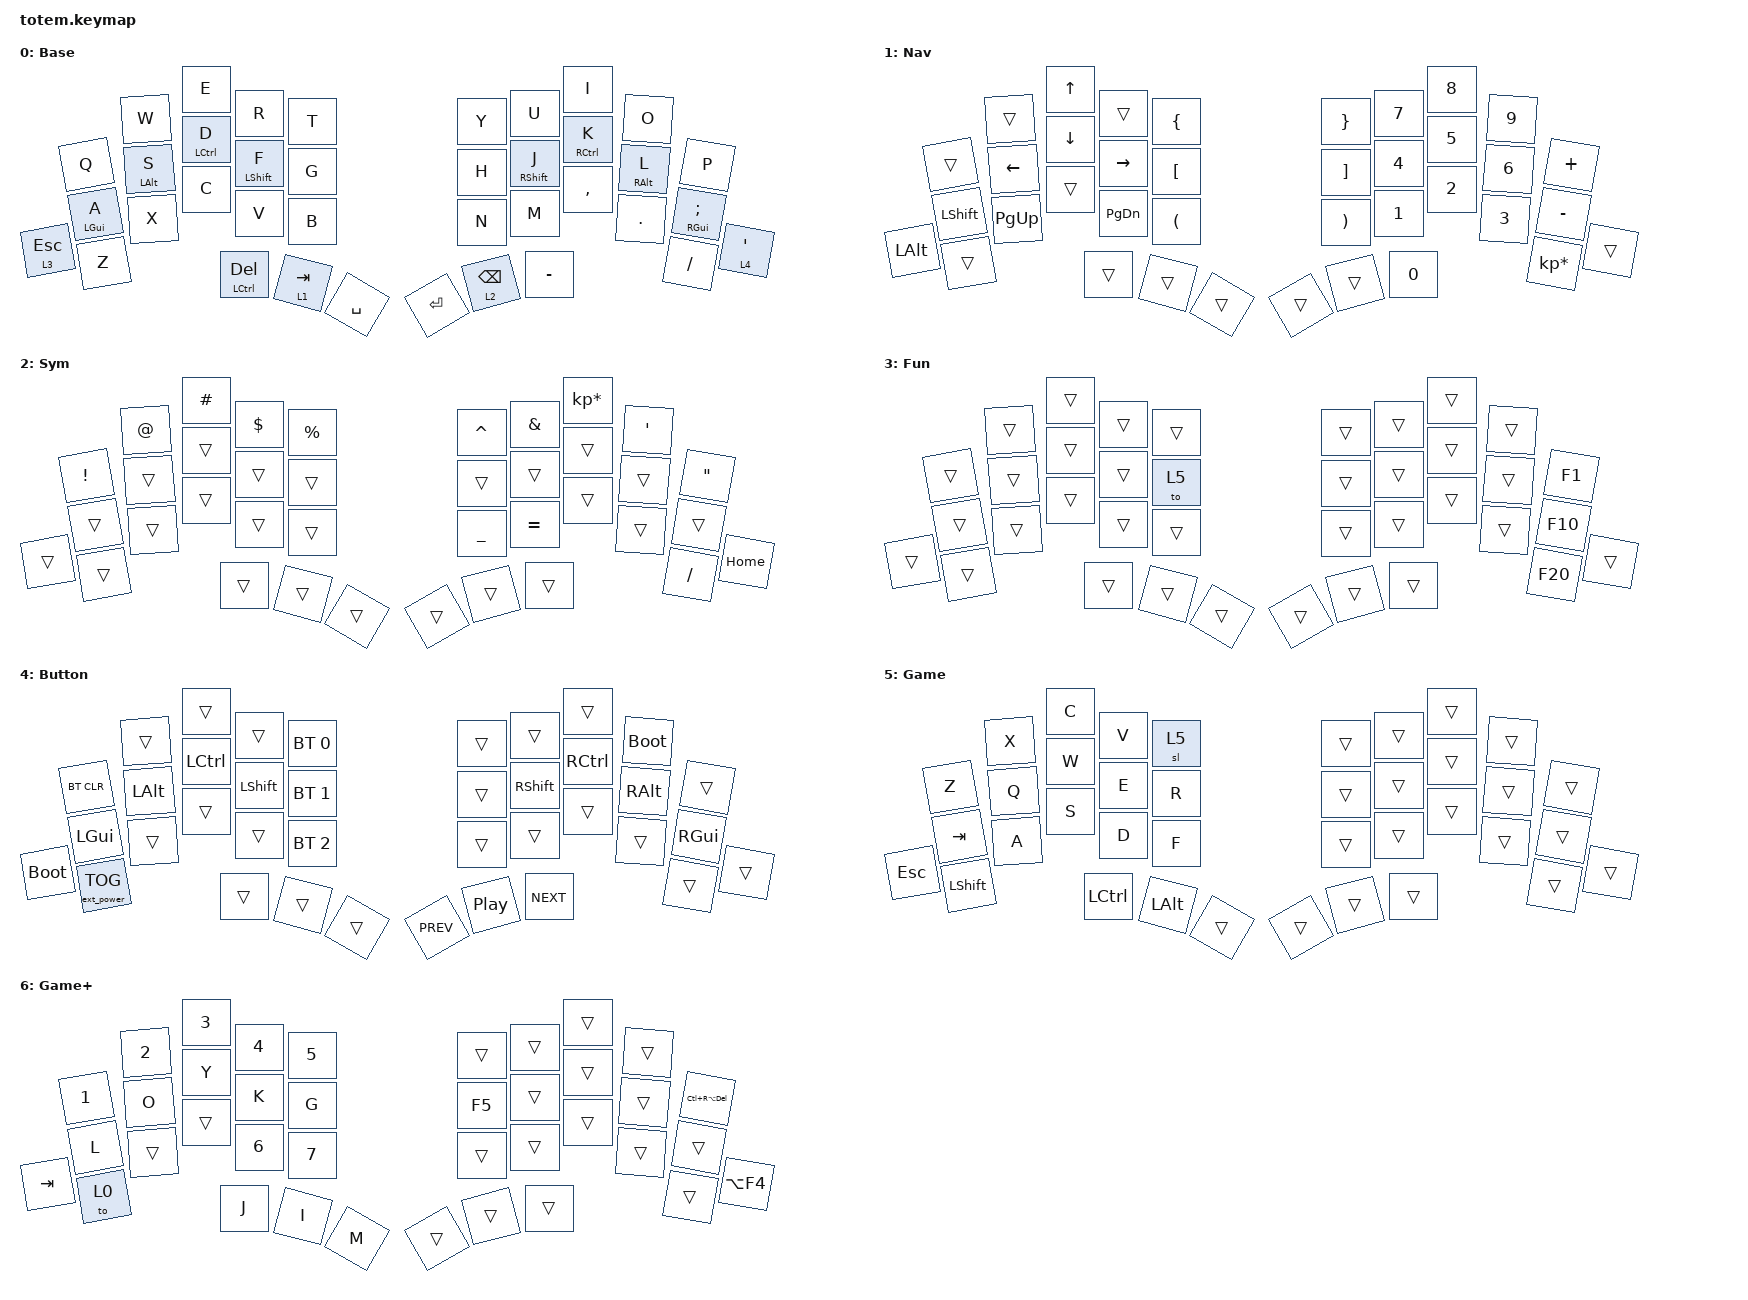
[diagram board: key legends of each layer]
//
//                                                        ▀▀▀▀▀     ▀▀▀▀▀          ▀▀█▀▀
//                                                        ▄▀▀▀▄  ▄  ▄▀▀▀▄  ▄  ▄▀▀▀▄  █  ▄▀▀▀▄
//                                                        █   █  █  █   █  █  █   █  █  █   █
//                                                         ▀▀▀   █   ▀▀▀   █   ▀▀▀   ▀   ▀▀▀
//                                                               █      ▄▄▄█▄▄▄    █   █  
//                                                               ▀      █  █  █     █▄█
//                                                             ▀▀▀▀▀    █  █  █      ▀
//                                                                      ▀  ▀  ▀
//
// ▄▄▄▄▄▄▄▄▄▄▄▄▄▄▄▄▄▄▄▄▄▄▄▄▄▄▄▄▄▄▄▄▄▄▄▄▄▄▄▄▄▄▄▄▄▄▄▄▄▄▄▄▄▄▄▄▄▄▄▄▄▄▄▄▄▄▄▄▄▄▄▄▄▄▄▄▄▄▄▄▄▄▄▄▄▄▄▄▄▄▄▄▄▄▄▄▄▄▄▄▄▄▄▄▄▄▄▄▄▄▄▄▄▄▄▄▄▄▄▄▄▄▄▄▄▄▄▄▄▄▄▄▄▄▄▄▄▄▄▄▄▄▄▄▄▄▄▄▄

#include <behaviors.dtsi>
#include <dt-bindings/zmk/keys.h>

#define Base        0
#define Nav         1
#define Sym         2
#define Fun         3
#define Game        4
#define Gameplus    5
#include <dt-bindings/zmk/bt.h>
#include <dt-bindings/zmk/ext_power.h>
#include <dt-bindings/zmk/keys.h>

#define Base        0
#define Media       1
#define Nav         2
#define Mouse       3
#define Sym         4
#define Num         5
#define Fun         6
#define Button      7
#define Game        8
#define Gameplus    9

&mt {
    quick-tap-ms = <100>;
    global-quick-tap;
    flavor = "tap-preferred";
    tapping-term-ms = <170>;
};

&lt {
    tapping-term-ms = <240>;
    flavor = "balanced";
    quick-tap-ms = <150>;
};

/ {
    behaviors {
        hm: homerow_mods {
            compatible = "zmk,behavior-hold-tap";
            label = "HOMEROW_MODS";
            #binding-cells = <2>;
            flavor = "tap-preferred";
            tapping-term-ms = <200>;
            quick-tap-ms = <125>;
            global-quick-tap;
            bindings = <&kp>, <&kp>;
        };
    };

    combos { compatible = "zmk,combos"; };
            bindings =
                <&kp>,
                <&kp>;
        };
    };

    combos {
        compatible = "zmk,combos";
    };

    keymap {
        compatible = "zmk,keymap";

        Base {
            display-name = "Base";
            bindings = <
              &kp Q       &kp W       &kp E          &kp R         &kp T        &kp Y    &kp U        &kp I        &kp O       &kp P
              &hm LGUI A  &hm LALT S  &hm LCTRL D    &hm LSHIFT F  &kp G        &kp H    &hm RSHFT J  &hm RCTRL K  &hm RALT L  &hm RGUI SEMICOLON
&lt 3 ESCAPE  &kp Z       &kp X       &kp C          &kp V         &kp B        &kp N    &kp M        &kp COMMA    &kp DOT     &kp SLASH           &kp APOSTROPHE
                                      &mt LCTRL DEL  &lt 1 TAB     &kp SPACE    &kp RET  &lt 2 BSPC   &kp MINUS
            label = "Base";
            bindings = <
                   &kp Q       &kp W          &kp E         &kp R      &kp T    &kp Y        &kp U        &kp I       &kp O               &kp P
              &hm LGUI A  &hm LALT S    &hm LCTRL D  &hm LSHIFT F      &kp G    &kp H  &hm RSHFT J  &hm RCTRL K  &hm RALT L  &hm RGUI SEMICOLON
&lt 3 ESCAPE       &kp Z       &kp X          &kp C         &kp V      &kp B    &kp N        &kp M    &kp COMMA     &kp DOT           &kp SLASH  &lt 4 APOSTROPHE
                                      &mt LCTRL DEL     &lt 1 TAB  &kp SPACE  &kp RET   &lt 2 BSPC    &kp MINUS
            >;
        };

        Nav {
            display-name = "Nav";
            bindings = <
              &kp TILDE       &trans     &kp UP_ARROW  &trans     &kp LBRC    &kp RBRC  &kp NUMBER_7  &kp NUMBER_8  &kp NUMBER_9  &kp NUMBER_0
              &kp LEFT_SHIFT  &kp LEFT   &kp DOWN      &kp RIGHT  &kp LBKT    &kp RBKT  &kp NUMBER_4  &kp NUMBER_5  &kp NUMBER_6  &kp MINUS
&kp LEFT_ALT  &kp LEFT_WIN    &kp MINUS  &trans        &kp PLUS   &kp LPAR    &kp RPAR  &kp NUMBER_1  &kp NUMBER_2  &kp NUMBER_3  &kp KP_MULTIPLY  &kp PLUS
                                         &trans        &trans     &trans      &trans    &trans        &kp DOT
            label = "Nav";
            bindings = <
                      &trans       &trans  &kp UP_ARROW     &trans  &kp LBRC  &kp RBRC  &kp NUMBER_7  &kp NUMBER_8  &kp NUMBER_9         &kp PLUS
              &kp LEFT_SHIFT     &kp LEFT      &kp DOWN  &kp RIGHT  &kp LBKT  &kp RBKT  &kp NUMBER_4  &kp NUMBER_5  &kp NUMBER_6        &kp MINUS
&kp LEFT_ALT          &trans  &kp PAGE_UP        &trans  &kp PG_DN  &kp LPAR  &kp RPAR  &kp NUMBER_1  &kp NUMBER_2  &kp NUMBER_3  &kp KP_MULTIPLY  &trans
                                                 &trans     &trans    &trans    &trans        &trans  &kp NUMBER_0
            >;
        };

        Sym {
            display-name = "Sym";
            bindings = <
                &kp EXCL  &kp AT  &kp HASH  &kp DOLLAR  &kp PERCENT    &kp CARET  &kp AMPERSAND  &kp KP_ASTERISK  &kp SQT  &kp DQT
                &trans    &trans  &trans    &trans      &trans         &trans     &trans         &trans           &trans   &trans
&studio_unlock  &trans    &trans  &trans    &trans      &trans         &kp UNDER  &kp EQUAL      &trans           &trans   &kp SLASH  &kp HOME
                                  &trans    &trans      &trans         &trans     &trans         &trans
            label = "Sym";
            bindings = <
        &kp EXCL  &kp AT  &kp HASH  &kp DOLLAR  &kp PERCENT  &kp CARET  &kp AMPERSAND  &kp KP_ASTERISK  &kp SQT    &kp DQT
          &trans  &trans    &trans      &trans       &trans     &trans         &trans           &trans   &trans     &trans
&trans    &trans  &trans    &trans      &trans       &trans  &kp UNDER      &kp EQUAL           &trans   &trans  &kp SLASH  &kp HOME
                            &trans      &trans       &trans     &trans         &trans           &trans
            >;
        };

        Fun {
            display-name = "Fun";
            bindings = <
        &bootloader  &trans  &trans  &trans  &to 4     &trans  &trans  &trans  &kp END  &kp F1
        &trans       &trans  &trans  &trans  &trans    &trans  &trans  &trans  &trans   &kp F10
&trans  &trans       &trans  &trans  &trans  &trans    &trans  &trans  &trans  &trans   &kp F20  &kp F7
                             &trans  &trans  &trans    &trans  &trans  &trans
            label = "Fun";
            bindings = <
        &trans  &trans  &trans  &trans  &trans  &trans  &trans  &trans  &trans   &kp F1
        &trans  &trans  &trans  &trans   &to 5  &trans  &trans  &trans  &trans  &kp F10
&trans  &trans  &trans  &trans  &trans  &trans  &trans  &trans  &trans  &trans  &kp F20  &trans
                        &trans  &trans  &trans  &trans  &trans  &trans
            >;
        };

        Button {
            label = "Button";
            bindings = <
                    &bt BT_CLR    &trans     &trans      &trans  &bt BT_SEL 0      &trans            &trans      &trans  &bootloader    &trans
                      &kp LGUI  &kp LALT  &kp LCTRL  &kp LSHIFT  &bt BT_SEL 1      &trans        &kp RSHIFT   &kp RCTRL     &kp RALT  &kp RGUI
&bootloader  &ext_power EP_TOG    &trans     &trans      &trans  &bt BT_SEL 2      &trans            &trans      &trans       &trans    &trans  &trans
                                             &trans      &trans        &trans  &kp C_PREV  &kp C_PLAY_PAUSE  &kp C_NEXT
            >;
        };

        Gaming {
            display-name = "Game";
            bindings = <
            &kp Z           &kp X  &kp C      &kp V         &sl 5     &trans  &trans  &trans  &trans  &trans
            &kp TAB         &kp Q  &kp W      &kp E         &kp R     &trans  &trans  &trans  &trans  &trans
&kp ESCAPE  &kp LEFT_SHIFT  &kp A  &kp S      &kp D         &kp F     &trans  &trans  &trans  &trans  &trans  &trans
                                   &kp LCTRL  &kp LEFT_ALT  &trans    &trans  &trans  &trans
            >;
        };

        Gaming+ {
            display-name = "Game+";
            bindings = <
        &kp F10  &kp NUMBER_1  &kp NUMBER_2  &kp NUMBER_3  &kp T     &kp RA(RC(Y))  &kp RA(RC(U))  &trans  &trans  &kp LC(RA(DEL))
        &kp L    &kp O         &kp Y         &kp K         &kp G     &kp F5         &kp F7         &trans  &trans  &kp F12
&trans  &to 0    &trans        &trans        &trans        &trans    &trans         &trans         &trans  &trans  &kp F22          &kp LA(F4)
                               &kp J         &kp I         &kp M     &trans         &trans         &trans
            >;
            bindings = <
            &trans  &trans     &trans        &trans  &trans  &trans  &trans  &trans  &trans  &trans
             &kp A   &kp S      &kp D         &kp F   &mo 6  &trans  &trans  &trans  &trans  &trans
&kp ESCAPE  &trans  &trans     &trans        &trans  &trans  &trans  &trans  &trans  &trans  &trans  &trans
                            &kp LCTRL  &kp LEFT_ALT  &trans  &trans  &trans  &trans
            >;

            label = "Gaming";
        };

        Gaming+ {
            bindings = <
         &kp NUMBER_1  &kp NUMBER_2  &kp NUMBER_3  &kp NUMBER_4  &kp NUMBER_5  &trans  &trans  &trans  &trans  &kp LC(RA(DEL))
                &kp L         &kp O         &kp Y         &kp K         &kp G  &kp F5  &trans  &trans  &trans           &trans
&kp TAB         &to 0        &trans        &trans  &kp NUMBER_6  &kp NUMBER_7  &trans  &trans  &trans  &trans           &trans  &kp LA(F4)
                                            &kp J         &kp I         &kp M  &trans  &trans  &trans
            >;

            label = "Gaming+";
        };
    };
};
